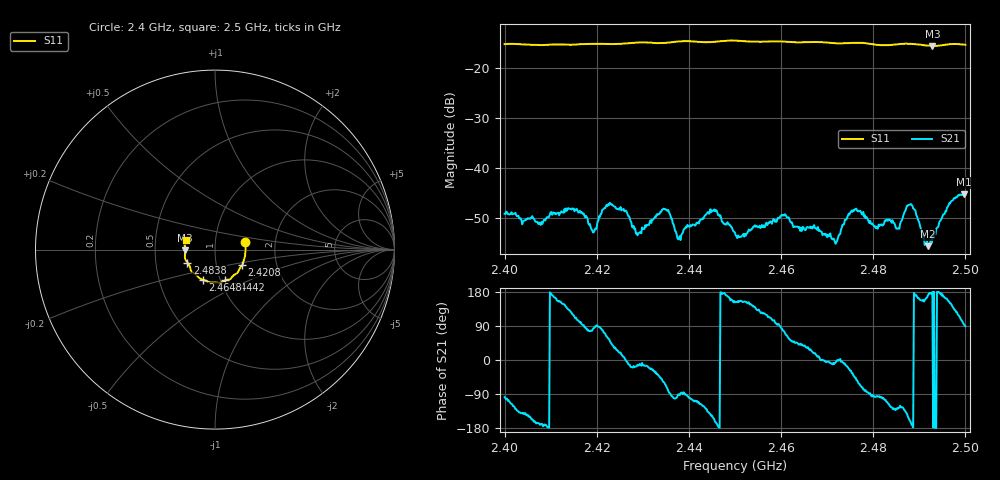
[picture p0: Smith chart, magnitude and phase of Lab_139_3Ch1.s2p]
# Hz S RI R 50
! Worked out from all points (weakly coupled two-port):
!   601 points, 2.4 GHz to 2.5 GHz, reference 50 ohm
!   highest |S21| = -45.18 dB at 2.4997 GHz (marker M1); lowest = -55.5 dB at 2.4918 GHz (marker M2)
!   lowest |S11| = -15.6 dB at 2.4928 GHz (marker M3), VSWR 1.40, Z = 35.8 - j0.348 ohm
!   |S11| at or under -10 dB: start of sweep to end of sweep
!   S12 and S22 are empty: the file has one direction only
!   S11 on the Smith chart (normalised r, x): 2.4 GHz: 1.40, +0.12; 2.4208 GHz: 1.33, -0.24; 2.4442 GHz: 1.05, -0.37; 2.4648 GHz: 0.83, -0.29; 2.4838 GHz: 0.73, -0.11; 2.5 GHz: 0.72, +0.08
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2.4e9  0.1678 0.0412  -0.000497 -0.00348  0 0  0 0
2.416667e9  0.159 -0.068  -0.000333 0.00365  0 0  0 0
2.419333e9  0.1538 -0.0816  0.000241 0.00228  0 0  0 0
2.420833e9  0.1507 -0.087  0.00039 0.00347  0 0  0 0
2.426e9  0.1329 -0.1143  0.00369 0.000391  0 0  0 0
2.429e9  0.127 -0.1272  0.00217 -0.000554  0 0  0 0
2.433333e9  0.1078 -0.1403  0.00266 -0.00225  0 0  0 0
2.437833e9  0.0886 -0.1614  -4.22e-05 -0.00196  0 0  0 0
2.444167e9  0.0568 -0.1714  -0.00268 -0.0025  0 0  0 0
2.45e9  0.0246 -0.186  -0.00201 0.00105  0 0  0 0
2.4605e9  -0.0377 -0.1794  0.000741 0.00332  0 0  0 0
2.464833e9  -0.0683 -0.1669  0.00206 0.00156  0 0  0 0
2.466667e9  -0.08 -0.1629  0.00238 0.00101  0 0  0 0
2.471667e9  -0.0999 -0.1454  0.00183 -0.000241  0 0  0 0
2.475833e9  -0.1268 -0.1251  0.00276 -0.00256  0 0  0 0
2.483333e9  -0.1506 -0.0762  -0.00134 -0.00278  0 0  0 0
2.483833e9  -0.1533 -0.0722  -0.00168 -0.0025  0 0  0 0
2.488167e9  -0.1675 -0.0472  -0.00425 -0.00111  0 0  0 0
2.491833e9  -0.1664 -0.0168  -0.00164 0.000298  0 0  0 0
2.492833e9  -0.1658 -0.00474  -0.00198 1.86e-05  0 0  0 0
2.499667e9  -0.1634 0.0502  -0.00038 0.0055  0 0  0 0
2.5e9  -0.1623 0.0529  6.71e-05 0.00536  0 0  0 0
